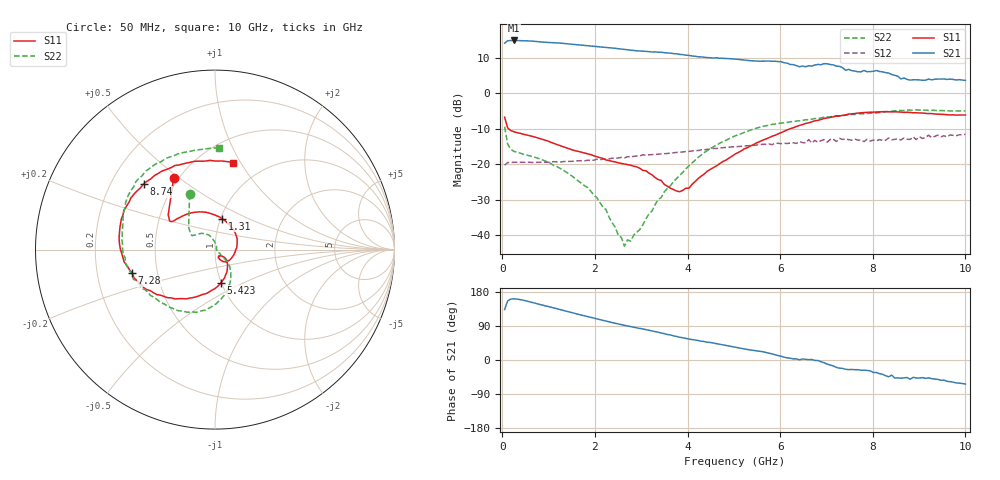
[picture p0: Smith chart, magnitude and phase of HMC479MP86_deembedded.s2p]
!Hittite Microwave Corporation
!12 Elizabeth Drive
!Chelmsford, MA 01824
!Tel: 978-250-3343
!Fax: 978-250-3373
!Device: HMC479MP86, DC-5 GHz, SiGe HBT Gain Block MMIC Amplifier in Micro-P package
!Misc: Vs = 8V, Room
# MHZ S MA R 50
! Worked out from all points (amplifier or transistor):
!   151 points, 50 MHz to 10 GHz, reference 50 ohm
!   highest |S21| = 14.9 dB at 249 MHz (marker M1)
!   |S21| within 3 dB of that: start of sweep to 3.001 GHz
!   unconditionally stable (mu >= 1): start of sweep to 6.481 GHz
!   at 1.708 GHz: K = 1.17, MAG = 13.8 dB, |S12| = -19.0 dB
!   at 5.025 GHz: K = 1.16, MAG = 9.9 dB, |S12| = -15.1 dB
!   at 10 GHz: K = 0.85, MSG = 7.6 dB, |S12| = -11.5 dB
!   S11 on the Smith chart (normalised r, x): 50 MHz: 0.47, +0.48; 1.31 GHz: 1.02, +0.36; 5.423 GHz: 0.99, -0.38; 7.28 GHz: 0.36, -0.12; 8.74 GHz: 0.34, +0.35; 10 GHz: 0.72, +0.93
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50  0.461 120.0  5.09 133.2  0.097 -43.0  0.338 114.7
116.333  0.325 143.3  5.504 156.1  0.106 -19.2  0.192 140.0
182.667  0.299 147.7  5.561 160.6  0.106 -12.1  0.163 146.7
249  0.288 147.4  5.564 161.4  0.107 -8.1  0.152 148.5
647  0.248 125.8  5.443 151.8  0.106 -1.3  0.129 137.7
1310.333  0.177 77.2  5.061 131.1  0.109 3.4  0.083 110.9
1774.667  0.144 36.6  4.75 116.6  0.112 6.2  0.05 96.7
2637  0.101 -33.3  4.158 91.5  0.123 9.5  0.00701 19.1
3366.667  0.061 -64.8  3.795 73.3  0.139 8.8  0.032 -39.2
4030  0.046 -46.3  3.431 55.3  0.152 8.2  0.095 -45.0
5025  0.139 -61.1  3.035 33.6  0.176 2.5  0.251 -76.4
5423  0.189 -80.5  2.868 25.2  0.185 -0.0  0.312 -91.7
6020  0.279 -110.7  2.792 9.8  0.195 -6.1  0.381 -113.7
6285.333  0.327 -123.4  2.541 3.1  0.201 -7.0  0.4 -124.1
6749.667  0.41 -142.3  2.508 -1.2  0.217 -10.2  0.441 -144.7
6948.667  0.443 -150.0  2.623 -7.3  0.223 -9.4  0.462 -152.1
7280.333  0.48 -164.4  2.401 -21.6  0.232 -16.4  0.477 -163.4
7413  0.496 -169.1  2.115 -24.4  0.228 -19.9  0.491 -166.6
7877.333  0.539 172.1  2.022 -27.5  0.225 -23.0  0.521 174.1
8341.667  0.549 153.5  1.934 -44.4  0.235 -22.7  0.553 154.5
8739.667  0.541 137.3  1.572 -46.2  0.226 -25.1  0.581 139.5
10000  0.495 78.4  1.521 -63.5  0.265 -38.2  0.564 87.9
